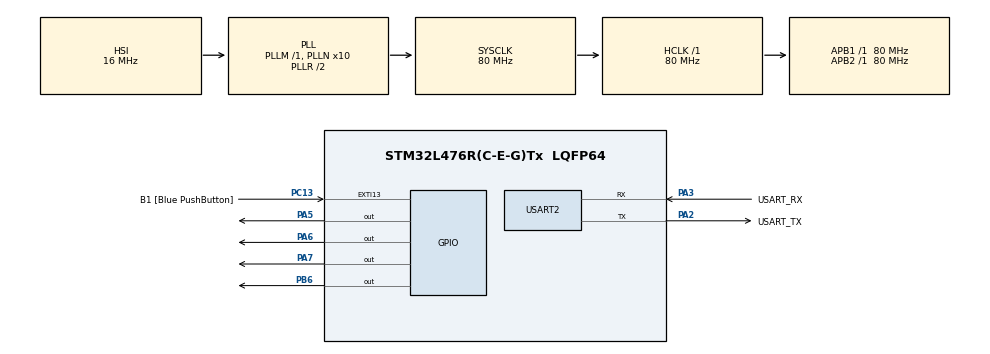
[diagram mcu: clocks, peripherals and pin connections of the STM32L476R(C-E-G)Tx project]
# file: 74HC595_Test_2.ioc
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Mcu.Family=STM32L4
Mcu.Name=STM32L476R(C-E-G)Tx
Mcu.Package=LQFP64
NVIC.PriorityGroup=NVIC_PRIORITYGROUP_4
PA13\ (JTMS-SWDIO).GPIO_Label=TMS
PA13\ (JTMS-SWDIO).Mode=Serial_Wire
PA13\ (JTMS-SWDIO).Signal=SYS_JTMS-SWDIO
PA14\ (JTCK-SWCLK).GPIO_Label=TCK
PA14\ (JTCK-SWCLK).Mode=Serial_Wire
PA14\ (JTCK-SWCLK).Signal=SYS_JTCK-SWCLK
PA2.GPIO_Label=USART_TX
PA2.GPIO_Mode=GPIO_MODE_AF_PP
PA2.GPIO_PuPd=GPIO_NOPULL
PA2.GPIO_Speed=GPIO_SPEED_FREQ_VERY_HIGH
PA2.Mode=Asynchronous
PA2.Signal=USART2_TX
PA3.GPIO_Label=USART_RX
PA3.GPIO_Mode=GPIO_MODE_AF_PP
PA3.GPIO_PuPd=GPIO_NOPULL
PA3.GPIO_Speed=GPIO_SPEED_FREQ_VERY_HIGH
PA3.Mode=Asynchronous
PA3.Signal=USART2_RX
PA5.Signal=GPIO_Output
PA6.Signal=GPIO_Output
PA7.Signal=GPIO_Output
PB3\ (JTDO-TRACESWO).GPIO_Label=SWO
PB3\ (JTDO-TRACESWO).Signal=SYS_JTDO-SWO
PB6.Signal=GPIO_Output
PC13.GPIO_Label=B1 [Blue PushButton]
PC13.GPIO_ModeDefaultEXTI=GPIO_MODE_IT_FALLING
PC13.GPIO_PuPd=GPIO_NOPULL
PC13.Signal=GPXTI13
PC14-OSC32_IN\ (PC14).Mode=LSE-External-Oscillator
PC14-OSC32_IN\ (PC14).Signal=RCC_OSC32_IN
PC15-OSC32_OUT\ (PC15).Mode=LSE-External-Oscillator
PC15-OSC32_OUT\ (PC15).Signal=RCC_OSC32_OUT
PH0-OSC_IN\ (PH0).Signal=RCC_OSC_IN
PH1-OSC_OUT\ (PH1).Signal=RCC_OSC_OUT
ProjectManager.HeapSize=0x200
ProjectManager.StackSize=0x400
ProjectManager.TargetToolchain=STM32CubeIDE
RCC.ADCFreq_Value=64000000
RCC.AHBFreq_Value=80000000
RCC.APB1Freq_Value=80000000
RCC.APB1TimFreq_Value=80000000
RCC.APB2Freq_Value=80000000
RCC.APB2TimFreq_Value=80000000
RCC.CortexFreq_Value=80000000
RCC.HCLKFreq_Value=80000000
RCC.HSE_VALUE=8000000
RCC.HSI_VALUE=16000000
RCC.MSI_VALUE=4000000
RCC.PLLN=10
RCC.PLLSourceVirtual=RCC_PLLSOURCE_HSI
RCC.PREFETCH_ENABLE=1
RCC.SYSCLKFreq_VALUE=80000000
RCC.SYSCLKSource=RCC_SYSCLKSOURCE_PLLCLK
RCC.USBFreq_Value=64000000
RCC.VCOOutputFreq_Value=160000000
USART2.VirtualMode-Asynchronous=VM_ASYNC
board=NUCLEO-L476RG

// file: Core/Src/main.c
/* USER CODE BEGIN Header */
/**
  ******************************************************************************
  * @file           : main.c
  * @brief          : Main program body
  ******************************************************************************
  * @attention
  *
  * This software component is licensed by ST under BSD 3-Clause license,
  * available at: opensource.org/licenses/BSD-3-Clause
  *
  ******************************************************************************
  */
/* USER CODE END Header */
#include "main.h"

UART_HandleTypeDef huart2;

/* USER CODE BEGIN PV */
// Array for displaying numbers 0 to 9 on the 7-segment display
uint16_t number[10] = {
    0b00000011, 0b10011111, 0b00100101, 0b00001101,
    0b10011001, 0b01001001, 0b01000001, 0b00011011,
    0b00000001, 0b00001001
};
/* USER CODE END PV */

void SystemClock_Config(void);
static void MX_GPIO_Init(void);
static void MX_USART2_UART_Init(void);
/* USER CODE BEGIN PFP */
void displayNumber(uint8_t num);
/* USER CODE END PFP */

/* USER CODE BEGIN 0 */
void displayNumber(uint8_t num) {
    uint16_t data = number[num];

    // Enable output (active low)
    HAL_GPIO_WritePin(GPIOA, GPIO_PIN_6, GPIO_PIN_RESET);
    //HAL_Delay(1);

    // Loop through each bit in data (from LSB to MSB)
    for (int i = 0; i < 8; i++) {
        // Set SER pin based on the current bit
        if (data & (1 << i)) {
            HAL_GPIO_WritePin(GPIOA, GPIO_PIN_5, GPIO_PIN_SET); // SER = 1
            //HAL_Delay(1);
        } else {
            HAL_GPIO_WritePin(GPIOA, GPIO_PIN_5, GPIO_PIN_RESET); // SER = 0
        }

        // Pulse the clock to shift in the bit
        HAL_GPIO_WritePin(GPIOA, GPIO_PIN_7, GPIO_PIN_SET);   // SRCLK rising edge
        //HAL_Delay(1);
        HAL_GPIO_WritePin(GPIOA, GPIO_PIN_7, GPIO_PIN_RESET); // SRCLK falling edge
    }

    // Latch the shifted data to the output
    HAL_GPIO_WritePin(GPIOB, GPIO_PIN_6, GPIO_PIN_SET);   // ST_CP (Latch) rising edge
    //HAL_Delay(5);
    HAL_GPIO_WritePin(GPIOB, GPIO_PIN_6, GPIO_PIN_RESET); // ST_CP (Latch) falling edge

    // Disable output (optional, depending on your needs)
    HAL_GPIO_WritePin(GPIOA, GPIO_PIN_6, GPIO_PIN_SET);
}

/* USER CODE END 0 */

int main(void)
{

  /* USER CODE BEGIN 1 */
  uint8_t cnt = 0;
  /* USER CODE END 1 */

  /* MCU Configuration--------------------------------------------------------*/

  /* Reset of all peripherals, Initializes the Flash interface and the Systick. */
  HAL_Init();

  /* Configure the system clock */
  SystemClock_Config();

  /* Initialize all configured peripherals */
  MX_GPIO_Init();
  MX_USART2_UART_Init();
  /* USER CODE BEGIN 2 */
  HAL_GPIO_WritePin(GPIOA, GPIO_PIN_6, GPIO_PIN_SET); // Disable outputs initially (OE high)
  /* USER CODE END 2 */

  /* Infinite loop */
  /* USER CODE BEGIN WHILE */
  while (1)
  {
    /* Display the current number */
    displayNumber(cnt);

    /* Increment counter and wrap around to 0 after 9 */
    cnt = (cnt + 1) % 10;

    /* Delay to make the counter increment every second (adjust as needed) */
    HAL_Delay(200);

    printf("Displayed number: %d\n", cnt); // Make sure to initialize UART for printf
  }
    /* USER CODE END WHILE */

  }

void SystemClock_Config(void)
{
  RCC_OscInitTypeDef RCC_OscInitStruct = {0};
  RCC_ClkInitTypeDef RCC_ClkInitStruct = {0};

  /** Configure the main internal regulator output voltage
  */
  if (HAL_PWREx_ControlVoltageScaling(PWR_REGULATOR_VOLTAGE_SCALE1) != HAL_OK)
  {
    Error_Handler();
  }

  /** Initializes the RCC Oscillators according to the specified parameters
  * in the RCC_OscInitTypeDef structure.
  */
  RCC_OscInitStruct.OscillatorType = RCC_OSCILLATORTYPE_HSI;
  RCC_OscInitStruct.HSIState = RCC_HSI_ON;
  RCC_OscInitStruct.HSICalibrationValue = RCC_HSICALIBRATION_DEFAULT;
  RCC_OscInitStruct.PLL.PLLState = RCC_PLL_ON;
  RCC_OscInitStruct.PLL.PLLSource = RCC_PLLSOURCE_HSI;
  RCC_OscInitStruct.PLL.PLLM = 1;
  RCC_OscInitStruct.PLL.PLLN = 10;
  RCC_OscInitStruct.PLL.PLLP = RCC_PLLP_DIV7;
  RCC_OscInitStruct.PLL.PLLQ = RCC_PLLQ_DIV2;
  RCC_OscInitStruct.PLL.PLLR = RCC_PLLR_DIV2;
  if (HAL_RCC_OscConfig(&RCC_OscInitStruct) != HAL_OK)
  {
    Error_Handler();
  }

  /** Initializes the CPU, AHB and APB buses clocks
  */
  RCC_ClkInitStruct.ClockType = RCC_CLOCKTYPE_HCLK|RCC_CLOCKTYPE_SYSCLK
                              |RCC_CLOCKTYPE_PCLK1|RCC_CLOCKTYPE_PCLK2;
  RCC_ClkInitStruct.SYSCLKSource = RCC_SYSCLKSOURCE_PLLCLK;
  RCC_ClkInitStruct.AHBCLKDivider = RCC_SYSCLK_DIV1;
  RCC_ClkInitStruct.APB1CLKDivider = RCC_HCLK_DIV1;
  RCC_ClkInitStruct.APB2CLKDivider = RCC_HCLK_DIV1;

  if (HAL_RCC_ClockConfig(&RCC_ClkInitStruct, FLASH_LATENCY_4) != HAL_OK)
  {
    Error_Handler();
  }
}

static void MX_USART2_UART_Init(void)
{

  huart2.Instance = USART2;
  huart2.Init.BaudRate = 115200;
  huart2.Init.WordLength = UART_WORDLENGTH_8B;
  huart2.Init.StopBits = UART_STOPBITS_1;
  huart2.Init.Parity = UART_PARITY_NONE;
  huart2.Init.Mode = UART_MODE_TX_RX;
  huart2.Init.HwFlowCtl = UART_HWCONTROL_NONE;
  huart2.Init.OverSampling = UART_OVERSAMPLING_16;
  huart2.Init.OneBitSampling = UART_ONE_BIT_SAMPLE_DISABLE;
  huart2.AdvancedInit.AdvFeatureInit = UART_ADVFEATURE_NO_INIT;
  if (HAL_UART_Init(&huart2) != HAL_OK)
  {
    Error_Handler();
  }

}

static void MX_GPIO_Init(void)
{
  GPIO_InitTypeDef GPIO_InitStruct = {0};

  /* GPIO Ports Clock Enable */
  __HAL_RCC_GPIOC_CLK_ENABLE();
  __HAL_RCC_GPIOH_CLK_ENABLE();
  __HAL_RCC_GPIOA_CLK_ENABLE();
  __HAL_RCC_GPIOB_CLK_ENABLE();

  /*Configure GPIO pin Output Level */
  HAL_GPIO_WritePin(GPIOA, GPIO_PIN_5|GPIO_PIN_6|GPIO_PIN_7, GPIO_PIN_RESET);

  /*Configure GPIO pin Output Level */
  HAL_GPIO_WritePin(GPIOB, GPIO_PIN_6, GPIO_PIN_RESET);

  /*Configure GPIO pin : B1_Pin */
  GPIO_InitStruct.Pin = B1_Pin;
  GPIO_InitStruct.Mode = GPIO_MODE_IT_FALLING;
  GPIO_InitStruct.Pull = GPIO_NOPULL;
  HAL_GPIO_Init(B1_GPIO_Port, &GPIO_InitStruct);

  /*Configure GPIO pins : PA5 PA6 PA7 */
  GPIO_InitStruct.Pin = GPIO_PIN_5|GPIO_PIN_6|GPIO_PIN_7;
  GPIO_InitStruct.Mode = GPIO_MODE_OUTPUT_PP;
  GPIO_InitStruct.Pull = GPIO_NOPULL;
  GPIO_InitStruct.Speed = GPIO_SPEED_FREQ_LOW;
  HAL_GPIO_Init(GPIOA, &GPIO_InitStruct);

  /*Configure GPIO pin : PB6 */
  GPIO_InitStruct.Pin = GPIO_PIN_6;
  GPIO_InitStruct.Mode = GPIO_MODE_OUTPUT_PP;
  GPIO_InitStruct.Pull = GPIO_NOPULL;
  GPIO_InitStruct.Speed = GPIO_SPEED_FREQ_LOW;
  HAL_GPIO_Init(GPIOB, &GPIO_InitStruct);

}

void Error_Handler(void)
{
  __disable_irq();
  while (1)
  {
  }
}
